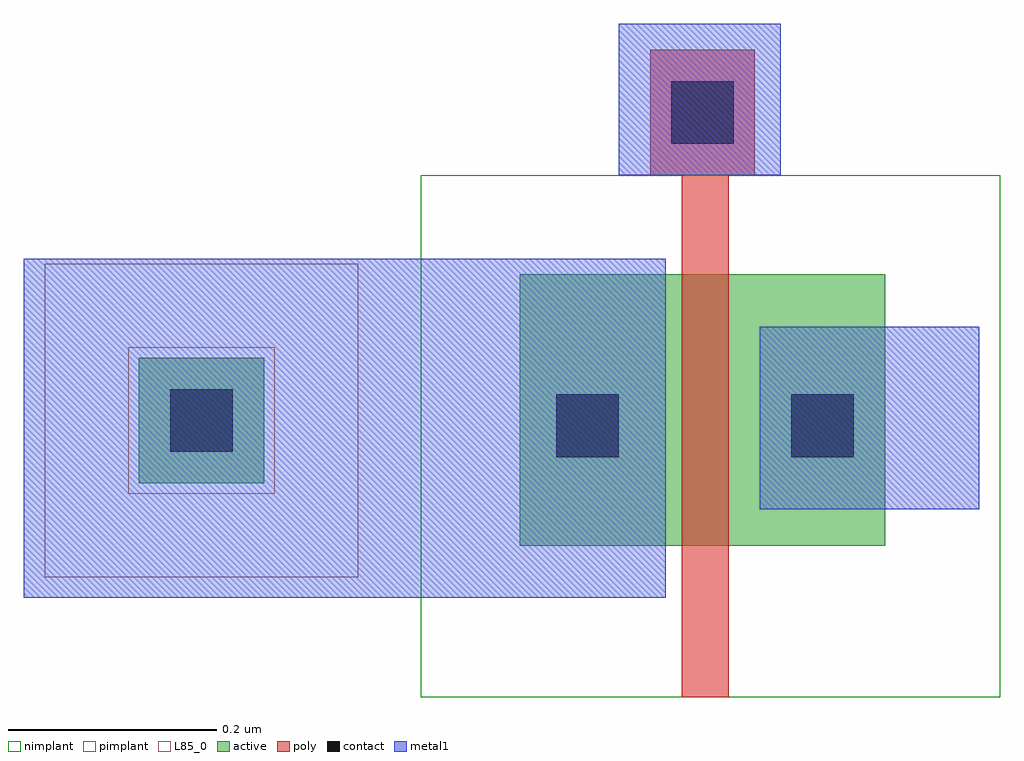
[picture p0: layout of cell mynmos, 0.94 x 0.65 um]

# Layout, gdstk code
import gdstk
lib = gdstk.Library(unit=1e-6, precision=5e-10)
def R(c, l, rs):  # rectangles x0, y0, x1, y1
    for r in rs: c.add(gdstk.rectangle(r[:2], r[2:], *l))
active = (1, 0)
poly = (3, 0)
nimplant = (4, 0)
pimplant = (5, 0)
contact = (6, 0)
metal1 = (7, 0)
L85_0 = (85, 0)

m1_po_cdns_757692776730 = lib.new_cell('M1_PO_CDNS_757692776730')
R(m1_po_cdns_757692776730, poly, [(-0.05,-0.06,0.05,0.06)])
R(m1_po_cdns_757692776730, contact, [(-0.03,-0.03,0.03,0.03)])
R(m1_po_cdns_757692776730, metal1, [(-0.03,-0.06,0.03,0.06)])

m1_psub_cdns_75769277673 = lib.new_cell('M1_PSUB_CDNS_757692776731')
R(m1_psub_cdns_75769277673, active, [(-0.06,-0.06,0.06,0.06)])
R(m1_psub_cdns_75769277673, pimplant, [(-0.07,-0.07,0.07,0.07)])
R(m1_psub_cdns_75769277673, contact, [(-0.03,-0.03,0.03,0.03)])
R(m1_psub_cdns_75769277673, metal1, [(-0.03,-0.06,0.03,0.06)])
R(m1_psub_cdns_75769277673, L85_0, [(-0.15,-0.15,0.15,0.15)])

m1_diff_cdns_75769277673 = lib.new_cell('M1_DIFF_CDNS_757692776732')
R(m1_diff_cdns_75769277673, active, [(-0.06,-0.06,0.06,0.06)])
R(m1_diff_cdns_75769277673, contact, [(-0.03,-0.03,0.03,0.03)])
R(m1_diff_cdns_75769277673, metal1, [(-0.03,-0.06,0.03,0.06)])

mynmos = lib.new_cell('mynmos')
R(mynmos, active, [(0.105,0.145,0.455,0.405)])
R(mynmos, poly, [(0.26,0,0.305,0.5)])
R(mynmos, nimplant, [(0.01,0,0.565,0.5)])
R(mynmos, metal1, [(-0.37,0.095,0.245,0.42), (0.335,0.18,0.545,0.355), (0.2,0.5,0.355,0.645)])
mynmos.add(gdstk.Reference(m1_po_cdns_757692776730, (0.28,0.56)))
mynmos.add(gdstk.Reference(m1_psub_cdns_75769277673, (-0.2,0.265)))
mynmos.add(gdstk.Reference(m1_diff_cdns_75769277673, (0.17,0.26)))
mynmos.add(gdstk.Reference(m1_diff_cdns_75769277673, (0.395,0.26)))

lib.write_gds('mynmos.gds')
